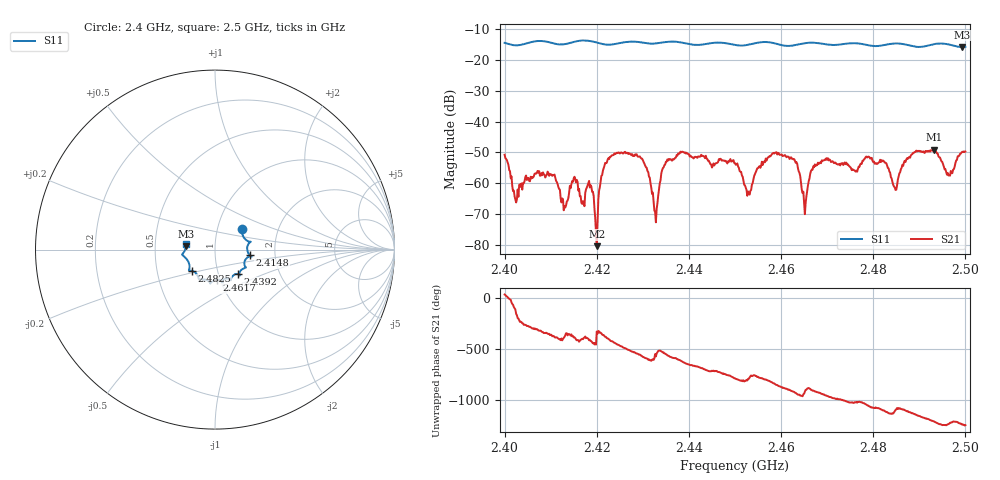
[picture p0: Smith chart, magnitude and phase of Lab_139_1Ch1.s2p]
# Hz S RI R 50
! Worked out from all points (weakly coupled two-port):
!   601 points, 2.4 GHz to 2.5 GHz, reference 50 ohm
!   highest |S21| = -49.18 dB at 2.4932 GHz (marker M1); lowest = -80.5 dB at 2.42 GHz (marker M2)
!   lowest |S11| = -15.8 dB at 2.4993 GHz (marker M3), VSWR 1.39, Z = 36.1 + j1.4 ohm
!   |S11| at or under -10 dB: start of sweep to end of sweep
!   S12 and S22 are empty: the file has one direction only
!   S11 on the Smith chart (normalised r, x): 2.4 GHz: 1.31, +0.32; 2.4148 GHz: 1.47, -0.09; 2.4392 GHz: 1.24, -0.35; 2.4617 GHz: 0.96, -0.34; 2.4825 GHz: 0.75, -0.18; 2.5 GHz: 0.72, +0.05
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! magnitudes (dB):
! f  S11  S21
! 2.4 GHz  -14.4  -50.8
! 2.4025 GHz  -15.2  -66.3
! 2.4148 GHz  -14.2  -59.6
! 2.4167 GHz  -13.7  -66.5
! 2.4185 GHz  -13.8  -61.4
! 2.42 GHz  -14.3  -80.5
! 2.4215 GHz  -14.9  -55.2
! 2.4243 GHz  -14.7  -50.1
! 2.4333 GHz  -14.5  -64.1
! 2.4348 GHz  -14.2  -54.0
! 2.4392 GHz  -14.6  -50.0
! 2.45 GHz  -15.1  -53.5
! 2.453 GHz  -15.0  -63.4
! 2.4617 GHz  -15.4  -51.5
! 2.465 GHz  -14.6  -66.5
! 2.4667 GHz  -14.4  -55.6
! 2.4825 GHz  -15.1  -53.4
! 2.4833 GHz  -14.9  -55.2
! 2.4932 GHz  -14.8  -49.2
! 2.4965 GHz  -15.0  -57.4
! 2.4993 GHz  -15.8  -49.8
! 2.5 GHz  -15.7  -49.7
